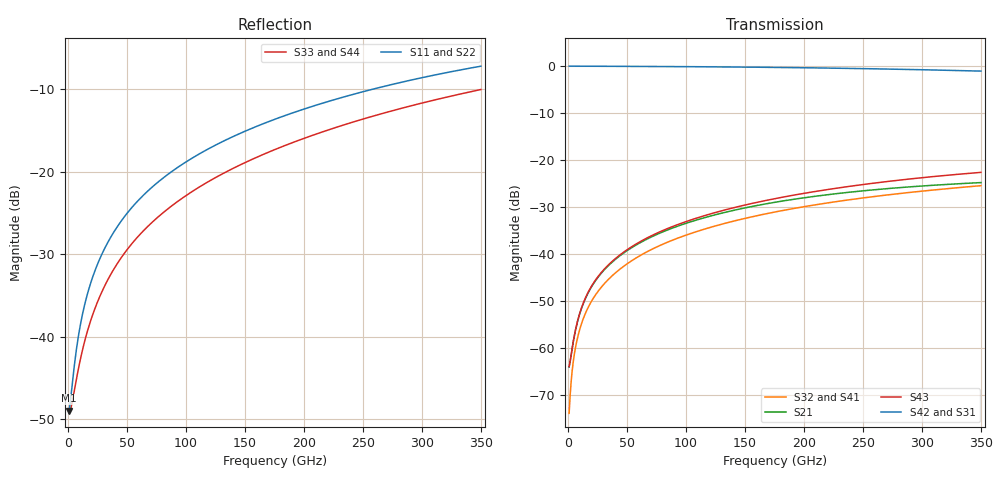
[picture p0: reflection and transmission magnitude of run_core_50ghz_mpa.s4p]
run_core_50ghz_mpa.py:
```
import os
import sys
sys.path.insert(0, os.path.abspath(os.path.join(os.path.dirname(__file__), 'modules')))

import modules.util_stackup_reader as stackup_reader
import util_gds_reader as gds_reader
import util_utilities as utilities
import util_simulation_setup as simulation_setup
import util_meshlines

import os
from pylab import *
from CSXCAD import ContinuousStructure
from CSXCAD import AppCSXCAD_BIN
from openEMS import openEMS
from openEMS.physical_constants import *

# Model comments


# ======================== workflow settings ================================

# preview model/mesh only?
# postprocess existing data without re-running simulation?
preview_only = False   
postprocess_only = False

# ===================== input files and path settings =======================

# GDS filename
gds_filename = "../layout_gds/50_ghz_mpa_core_no_BJT.gds"      # geometries
XML_filename = "SG13G2.xml"       # stackup

# preprocess GDSII for safe handling of cutouts/holes?
preprocess_gds = False

# merge polygons with distance less than xxx um, or set to 0 to disable via array merging
merge_polygon_size = 0.5

# get path for this simulation file
script_path = utilities.get_script_path(__file__)

# use script filename as model basename
model_basename = utilities.get_basename(__file__)

# set and create directory for simulation output
sim_path = utilities.create_sim_path (script_path,model_basename)
print('Simulation data directory: ', sim_path)


# ======================== simulation settings ================================

unit   = 1e-6   # geometry is in microns
margin = 100    # distance in microns from GDSII geometry boundary to simulation boundary 

fstart = 0
fstop  = 350e9
numfreq = 401

refined_cellsize = 0.3  # mesh cell size in conductor region

# choices for boundary xmin,xmax,ymin,ymax,zmin,zmax: 
# 'PEC' : perfect electric conductor (default)
# 'PMC' : perfect magnetic conductor, useful for symmetries
# 'MUR' : simple MUR absorbing boundary conditions
# 'PML_8' : PML absorbing boundary conditions
Boundaries = ['PML_4', 'PML_4', 'PML_4', 'PML_4', 'PEC', 'PML_4']

cells_per_wavelength = 20   # how many mesh cells per wavelength, must be 10 or more
energy_limit = -50          # end criteria for residual energy (dB)

# ports from GDSII Data, polygon geometry from specified special layer
# note that for multiport simulation, excitations are switched on/off in simulation_setup.createSimulation below
simulation_ports = simulation_setup.all_simulation_ports()
# instead of in-plane port specified with target_layername, we here use via port specified with from_layername and to_layername. GND means bottom of simulation box
simulation_ports.add_port(simulation_setup.simulation_port(portnumber=1, voltage=1, port_Z0=50, source_layernum=201, from_layername='Metal3', to_layername='TopMetal2', direction='z'))
simulation_ports.add_port(simulation_setup.simulation_port(portnumber=2, voltage=1, port_Z0=50, source_layernum=202, from_layername='Metal3', to_layername='TopMetal2', direction='z'))
simulation_ports.add_port(simulation_setup.simulation_port(portnumber=3, voltage=1, port_Z0=50, source_layernum=203, target_layername='Metal2', direction='-x'))
simulation_ports.add_port(simulation_setup.simulation_port(portnumber=4, voltage=1, port_Z0=50, source_layernum=204, target_layername='Metal2', direction='x'))

# ======================== simulation ================================

# get technology stackup data
materials_list, dielectrics_list, metals_list = stackup_reader.read_substrate (XML_filename)
# get list of layers from technology
layernumbers = metals_list.getlayernumbers()
layernumbers.extend(simulation_ports.portlayers)

# read geometries from GDSII, only purpose 0
allpolygons = gds_reader.read_gds(gds_filename, layernumbers, purposelist=[0], metals_list=metals_list, preprocess=preprocess_gds, merge_polygon_size=merge_polygon_size)


# calculate maximum cellsize from wavelength in dielectric
wavelength_air = 3e8/fstop
max_cellsize = (wavelength_air/unit)/(sqrt(materials_list.eps_max)*cells_per_wavelength) 


########### create model, run and post-process ###########


# Create simulation for port 1 .. 4 excitation, return value is data path for that excitation

FDTD = openEMS(EndCriteria=exp(energy_limit/10 * log(10)))
FDTD.SetGaussExcite( (fstart+fstop)/2, (fstop-fstart)/2 )
FDTD.SetBoundaryCond( Boundaries )

excite_ports_list = [[1],[2],[3],[4]]  # list of ports that are excited in the different excitation runs
for excite_ports in excite_ports_list:
    # define excitation and stop criteria and boundaries
    FDTD = simulation_setup.setupSimulation (excite_ports, simulation_ports, FDTD, materials_list, dielectrics_list, metals_list, allpolygons, max_cellsize, refined_cellsize, margin, unit, xy_mesh_function=util_meshlines.create_xy_mesh_from_polygons)
    simulation_setup.runSimulation (excite_ports, FDTD, sim_path, model_basename, preview_only, postprocess_only)


if preview_only==False:

    print('Begin data evaluation')

    # define dB function for S-parameters
    def dB(value):
        return 20.0*np.log10(np.abs(value))        

    # define phase function for S-parameters
    def phase(value):
        return angle(value, deg=True) 

    f = np.linspace(fstart,fstop,numfreq)

    # get results, CSX port definition is read from simulation ports object
    # all S-parameter data is available because we have simulated all port excitations
    s11 = utilities.calculate_Sij (1, 1, f, sim_path, simulation_ports)
    s21 = utilities.calculate_Sij (2, 1, f, sim_path, simulation_ports)
    s31 = utilities.calculate_Sij (3, 1, f, sim_path, simulation_ports)
    s41 = utilities.calculate_Sij (4, 1, f, sim_path, simulation_ports)
    s12 = utilities.calculate_Sij (1, 2, f, sim_path, simulation_ports)
    s22 = utilities.calculate_Sij (2, 2, f, sim_path, simulation_ports)
    s32 = utilities.calculate_Sij (3, 2, f, sim_path, simulation_ports)
    s42 = utilities.calculate_Sij (4, 2, f, sim_path, simulation_ports)
    s13 = utilities.calculate_Sij (1, 3, f, sim_path, simulation_ports)
    s23 = utilities.calculate_Sij (2, 3, f, sim_path, simulation_ports)
    s33 = utilities.calculate_Sij (3, 3, f, sim_path, simulation_ports)
    s43 = utilities.calculate_Sij (4, 3, f, sim_path, simulation_ports)
    s14 = utilities.calculate_Sij (1, 4, f, sim_path, simulation_ports)
    s24 = utilities.calculate_Sij (2, 4, f, sim_path, simulation_ports)
    s34 = utilities.calculate_Sij (3, 4, f, sim_path, simulation_ports)
    s44 = utilities.calculate_Sij (4, 4, f, sim_path, simulation_ports)

    s4p_name = os.path.join(sim_path, model_basename + '.s4p')
    utilities.write_snp (np.array([[s11,s21,s31,s41], [s12,s22,s32,s42], [s13,s23,s33,s43], [s14,s24,s34,s44]]),f, s4p_name)

    print('\nStarting plots')

    figure()
    plot(f/1e9, dB(s21), 'k-',  linewidth=2, label='S11 [dB]')
    grid()
    legend()
    xlabel('Frequency (GHz)')

    figure()
    plot(f/1e9, phase(s21), 'k-',  linewidth=2, label='S11 phase [degree]')
    grid()
    legend()
    xlabel('Frequency (GHz)')


    # Show all plots
    show()
```
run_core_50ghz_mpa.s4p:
#  Hz  S  RI  R  50
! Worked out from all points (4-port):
!   400 points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, 875 MHz to 350 GHz, reference 50 ohm
!   strongest paths, dB at 875 MHz, 88.38 GHz, 175.9 GHz, 263.4 GHz, 350 GHz:
!     S42: 0.0, -0.1, -0.3, -0.6, -1.1
!     S31: 0.0, -0.1, -0.3, -0.6, -1.1
!     S43: -63.8, -34.1, -28.2, -24.8, -22.6
!     S21: -64.0, -34.4, -28.9, -26.2, -24.8
!     S32: -73.8, -37.0, -31.0, -27.6, -25.4
!     S41: -73.8, -37.0, -31.0, -27.6, -25.5
!   lowest |S11| = -48.9 dB at 875 MHz (marker M1), VSWR 1.01, Z = 50.3 - j0.0971 ohm
!   |S11| at or under -10 dB: start of sweep to 258 GHz
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8.75e8  0.00345 -0.000964  0.000601 0.000196  -0.9948 0.00252  0.000146 -0.000143
        0.000602 0.000196  0.00347 -0.000928  0.000146 -0.000144  -0.9948 0.00254
        -0.9948 0.00252  0.000147 -0.000142  0.00341 -0.000528  0.000611 0.000202
        0.000148 -0.000142  -0.9948 0.00255  0.00061 0.000202  0.00344 -0.000554
6.3e10  -0.0216 -0.0678  0.00589 0.0123  -0.9748 0.1734  -0.00259 -0.00979
        0.00589 0.0123  -0.0203 -0.0656  -0.00253 -0.00982  -0.9744 0.1751
        -0.9735 0.1734  -0.0025 -0.00968  0.00747 -0.0426  0.00203 0.0139
        -0.00256 -0.00965  -0.9732 0.175  0.00203 0.0139  0.00729 -0.0445
3.5e11  -0.4068 0.1585  0.0476 -0.0328  -0.522 0.7676  -0.0564 0.00143
        0.0475 -0.0328  -0.3974 0.1437  -0.0571 -0.000321  -0.5135 0.7696
        -0.5036 0.7197  -0.0535 -0.000824  -0.0373 -0.313  0.0399 0.0619
        -0.0532 0.00098  -0.4987 0.7273  0.0403 0.0622  -0.0446 -0.3204
